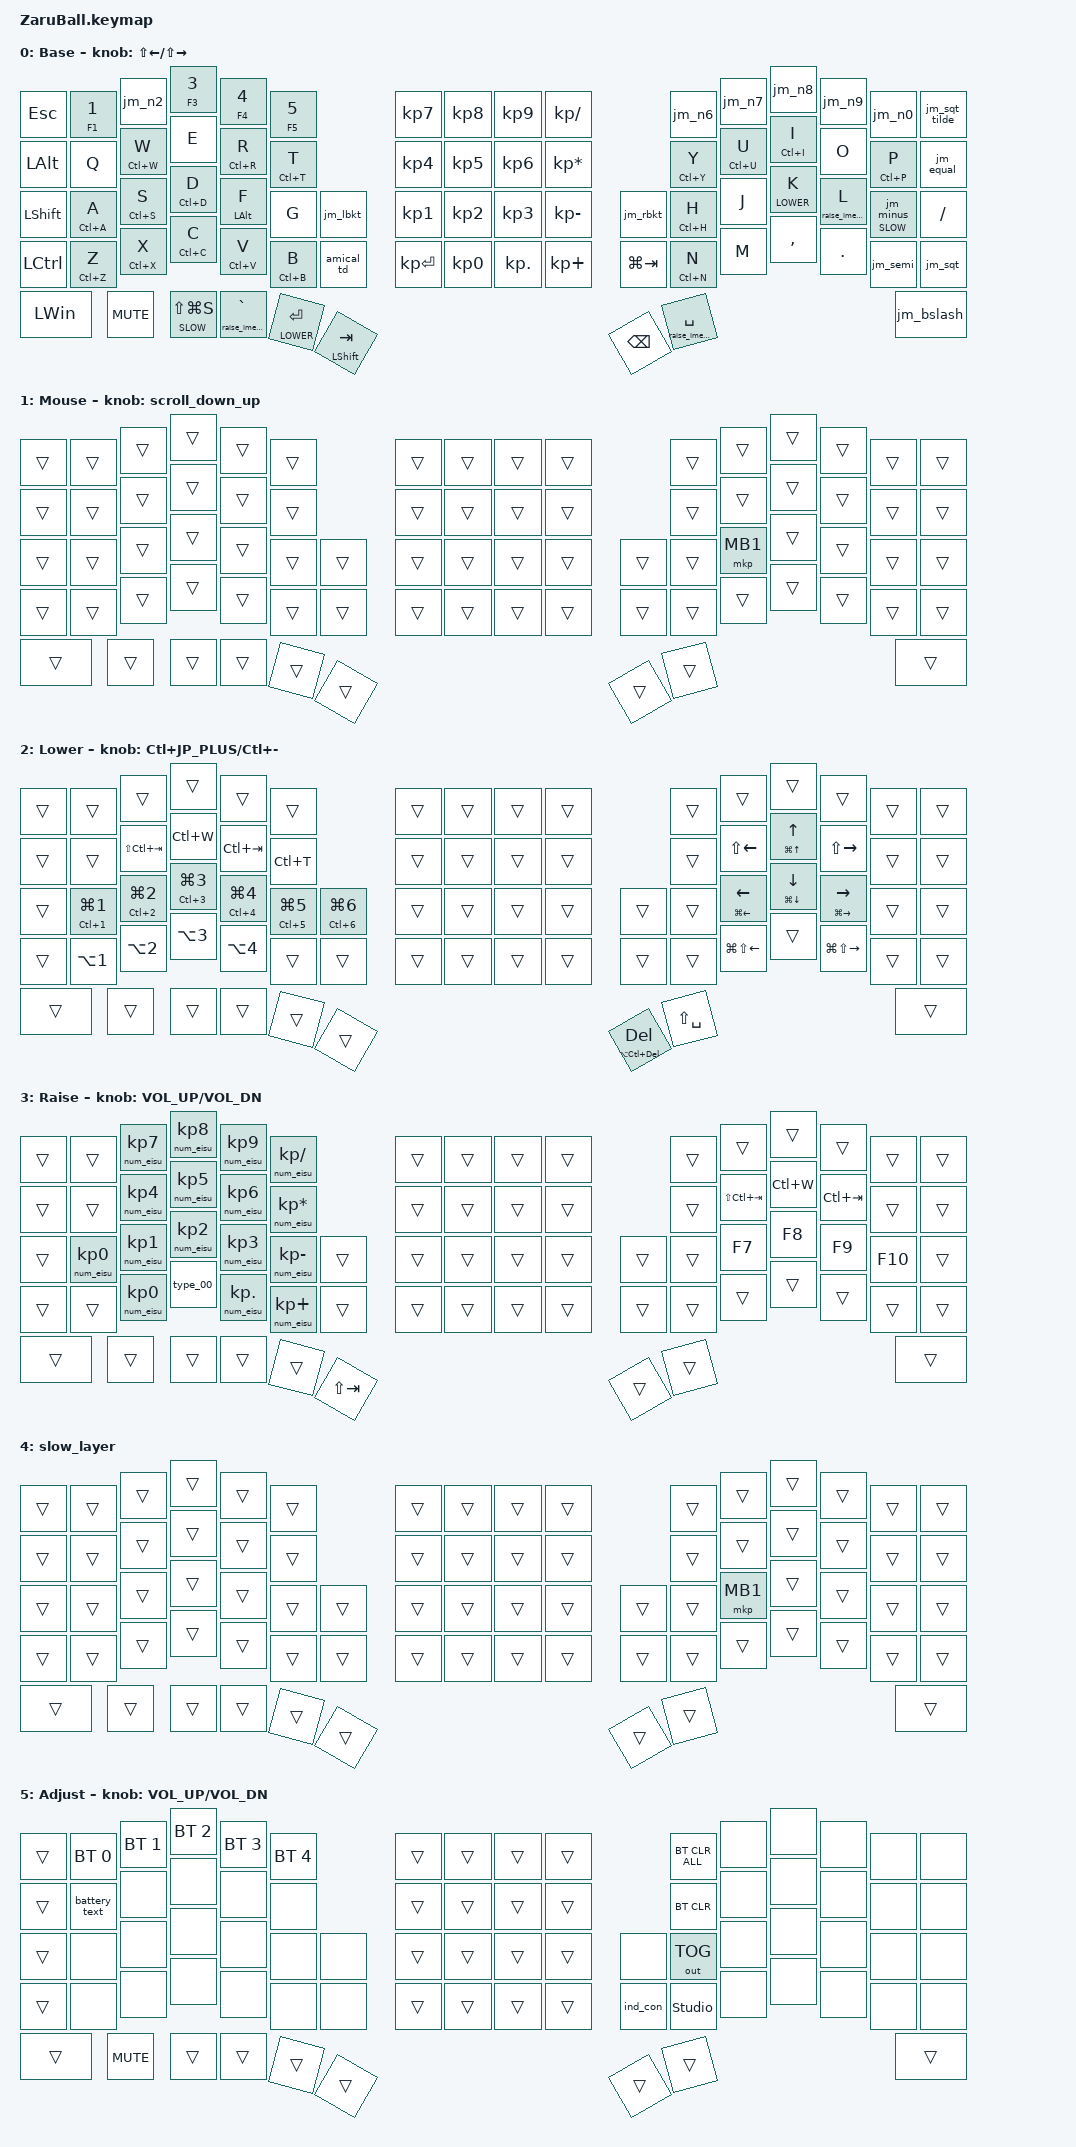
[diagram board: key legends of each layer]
//#include <dt-bindings/zmk/mouse.h>

#include <behaviors/rgbled_widget.dtsi>
#include <input/processors.dtsi>
#include <dt-bindings/zmk/input_transform.h>
#include <dt-bindings/zmk/modifiers.h>
#include <behaviors.dtsi>
#include <dt-bindings/zmk/bt.h>
#include <dt-bindings/zmk/keys.h>
#include <dt-bindings/zmk/outputs.h>
#include <dt-bindings/zmk/pointing.h>
#include <mouse-gesture.dtsi>

#define BASE     0
#define MOUSE    1
#define LOWER    2
#define RAISE    3
#define SLOW     4
#define ADJUST   5

// OS設定を日本語キーボードのまま使用するための変換定義

#define JP_DQUOTE       AT                // "
#define JP_AMPERSAND    CARET             // &
#define JP_QUOTE        AMPERSAND         // '
#define JP_EQUAL        UNDER             // =
#define JP_CARET        EQUAL             // ^
#define JP_YEN          INTERNATIONAL_3   // ¥
#define JP_PLUS         COLON             // +
#define JP_TILDE        PLUS              // ~
#define JP_PIPE         LS(INTERNATIONAL_3) // |
#define JP_AT           LEFT_BRACKET      // @
#define JP_COLON        SINGLE_QUOTE      // :
#define JP_ASTERISK     DOUBLE_QUOTES     // *
#define JP_BACKQUOTE    LEFT_BRACE        // `
#define JP_UNDERSCORE   LS(INTERNATIONAL_1) // _
#define JP_LBRACKET     RIGHT_BRACKET     // [
#define JP_RBRACKET     BACKSLASH         // ]
#define JP_LPAREN       ASTERISK          // (
#define JP_RPAREN       LEFT_PARENTHESIS  // )
#define JP_LBRACE       RIGHT_BRACE       // {
#define JP_RBRACE       PIPE              // }
#define JP_KANA         LANGUAGE_1        // かな
#define JP_EISU         LANGUAGE_2        // 英数
#define JP_HANZEN       GRAVE             // 半角/全角
#define JP_BSLASH       INTERNATIONAL_1   // \ (ろ)

// スクロール量の設定（デフォルト10を100に上書き）

#undef ZMK_POINTING_DEFAULT_SCRL_VAL

#define ZMK_POINTING_DEFAULT_SCRL_VAL 100

// マウスジェスチャーの設定

&zip_mouse_gesture {
    stroke-size = <100>;
    enable-eager-mode;

    // 左スワイプ → Win+1
    win1 {
        pattern = <GESTURE_LEFT>;
        bindings = <&kp LG(N1)>;
    };

    // 上スワイプ → Win+2
    win2 {
        pattern = <GESTURE_UP>;
        bindings = <&kp LG(N2)>;
    };

    // 下スワイプ → Win+3
    win3 {
        pattern = <GESTURE_DOWN>;
        bindings = <&kp LG(N3)>;
    };

    // 右スワイプ → Win+4
    win4 {
        pattern = <GESTURE_RIGHT>;
        bindings = <&kp LG(N4)>;
    };
};

/ {
    mouse_temp_layer: mouse_temp_layer {
        compatible = "zmk,input-processor-temp-layer";
        #input-processor-cells = <2>;
        require-prior-idle-ms = <300>;
        excluded-positions = <45>;
    };

    conditional_layers {
        compatible = "zmk,conditional-layers";

        tri_layer {
            if-layers = <LOWER RAISE>;
            then-layer = <ADJUST>;
        };
    };
};

&mt {
    flavor = "tap-preferred";
    quick-tap-ms = <175>; // 素早いダブルタップ・連続入力を可能にしてレスポンスを改善
};

/ {
    behaviors {
        // スクロール用のbehaviorの設定

        battery_text: battery_text {
            compatible = "zmk,behavior-battery-text";
            #binding-cells = <0>;
            display-name = "Battery Text";
        };

        scroll_down_up: behavior_sensor_rotate_mouse_wheel_down_up {
            compatible = "zmk,behavior-sensor-rotate";
            #sensor-binding-cells = <0>;
            bindings = <&msc SCRL_UP>, <&msc SCRL_DOWN>;

            tap-ms = <20>; // スクロールのタップ時間
        };


        td0: tap_dance_0 {
            compatible = "zmk,behavior-tap-dance";
            #binding-cells = <0>;
            tapping-term-ms = <200>;
            bindings = <&mt LALT LANG2>, <&raise_ime_hold>, <&mo MOUSE>;
        };

        td1: tap_dance_1 {
            compatible = "zmk,behavior-tap-dance";
            #binding-cells = <0>;
            tapping-term-ms = <200>;
            bindings = <&mt RCTL LANG1>, <&raise_ime_hold>, <&mo MOUSE>;
        };

        // Customed Hold-Tap for SandS

        SandS: SandS {
            compatible = "zmk,behavior-hold-tap";
            #binding-cells = <2>;
            flavor = "tap-unless-interrupted";
            tapping-term-ms = <500>;
            quick-tap-ms = <500>;
            bindings = <&kp>, <&kp>;

            display-name = "SandS";
        };

        // US→JP変換用 mod-morph behaviors
        // Shift押下時に正しいUS記号を出力するための変換

        jm_n2: jm_n2 {
            compatible = "zmk,behavior-mod-morph";
            #binding-cells = <0>;
            bindings = <&numht F2 N2>, <&kp JP_AT>;

            mods = <(MOD_LSFT|MOD_RSFT)>;
        };

        jm_n6: jm_n6 {
            compatible = "zmk,behavior-mod-morph";
            #binding-cells = <0>;
            bindings = <&numht F6 N6>, <&kp JP_CARET>;

            mods = <(MOD_LSFT|MOD_RSFT)>;
        };

        jm_n7: jm_n7 {
            compatible = "zmk,behavior-mod-morph";
            #binding-cells = <0>;
            bindings = <&numht F7 N7>, <&kp JP_AMPERSAND>;

            mods = <(MOD_LSFT|MOD_RSFT)>;
        };

        jm_n8: jm_n8 {
            compatible = "zmk,behavior-mod-morph";
            #binding-cells = <0>;
            bindings = <&numht F8 N8>, <&kp JP_ASTERISK>;

            mods = <(MOD_LSFT|MOD_RSFT)>;
        };

        jm_n9: jm_n9 {
            compatible = "zmk,behavior-mod-morph";
            #binding-cells = <0>;
            bindings = <&numht F9 N9>, <&kp JP_LPAREN>;

            mods = <(MOD_LSFT|MOD_RSFT)>;
        };

        jm_n0: jm_n0 {
            compatible = "zmk,behavior-mod-morph";
            #binding-cells = <0>;
            bindings = <&numht F10 N0>, <&kp JP_RPAREN>;

            mods = <(MOD_LSFT|MOD_RSFT)>;
        };

        jm_minus: jm_minus {
            compatible = "zmk,behavior-mod-morph";
            #binding-cells = <0>;
            bindings = <&kp MINUS>, <&kp INTERNATIONAL_1>;

            mods = <(MOD_LSFT|MOD_RSFT)>;
            keep-mods = <(MOD_LSFT|MOD_RSFT)>;
        };

        jm_equal: jm_equal {
            compatible = "zmk,behavior-mod-morph";
            #binding-cells = <0>;
            bindings = <&kp JP_EQUAL>, <&kp JP_PLUS>;

            mods = <(MOD_LSFT|MOD_RSFT)>;
        };

        jm_semi: jm_semi {
            compatible = "zmk,behavior-mod-morph";
            #binding-cells = <0>;
            bindings = <&kp SEMICOLON>, <&kp JP_COLON>;

            mods = <(MOD_LSFT|MOD_RSFT)>;
        };

        jm_sqt: jm_sqt {
            compatible = "zmk,behavior-mod-morph";
            #binding-cells = <0>;
            bindings = <&kp JP_QUOTE>, <&kp JP_DQUOTE>;

            mods = <(MOD_LSFT|MOD_RSFT)>;
        };

        jm_grave: jm_grave {
            compatible = "zmk,behavior-mod-morph";
            #binding-cells = <0>;
            bindings = <&kp JP_BACKQUOTE>, <&kp JP_TILDE>;

            mods = <(MOD_LSFT|MOD_RSFT)>;
        };

        // ' (Shift: ~) 用 mod-morph

        jm_sqt_tilde: jm_sqt_tilde {
            compatible = "zmk,behavior-mod-morph";
            #binding-cells = <0>;
            bindings = <&kp JP_QUOTE>, <&kp JP_TILDE>;

            mods = <(MOD_LSFT|MOD_RSFT)>;
        };

        // [ (Shift: {) 用 mod-morph

        jm_lbkt: jm_lbkt {
            compatible = "zmk,behavior-mod-morph";
            #binding-cells = <0>;
            bindings = <&kp JP_LBRACKET>, <&kp JP_LBRACE>;

            mods = <(MOD_LSFT|MOD_RSFT)>;
        };

        // ] (Shift: }) 用 mod-morph

        jm_rbkt: jm_rbkt {
            compatible = "zmk,behavior-mod-morph";
            #binding-cells = <0>;
            bindings = <&kp JP_RBRACKET>, <&kp JP_RBRACE>;

            mods = <(MOD_LSFT|MOD_RSFT)>;
        };

        // \ (Shift: |) 用 mod-morph

        jm_bslash: jm_bslash {
            compatible = "zmk,behavior-mod-morph";
            #binding-cells = <0>;
            bindings = <&kp INTERNATIONAL_1>, <&kp INTERNATIONAL_3>;

            mods = <(MOD_LSFT|MOD_RSFT)>;
            keep-mods = <(MOD_LSFT|MOD_RSFT)>;
        };

        // 数字キー長押しでFキーを出力するための hold-tap behavior

        raise_ime: raise_ime {
            compatible = "zmk,behavior-hold-tap";
            #binding-cells = <2>;
            flavor = "tap-preferred";
            tapping-term-ms = <200>;
            quick-tap-ms = <175>;
            bindings = <&raise_ime_hold>, <&kp>;
        };

        slow_minus: slow_minus {
            compatible = "zmk,behavior-hold-tap";
            #binding-cells = <2>;
            flavor = "balanced";
            tapping-term-ms = <200>;
            quick-tap-ms = <175>;
            bindings = <&mo>, <&jm_minus>;
        };

        amical_td: amical_td {
            compatible = "zmk,behavior-tap-dance";
            #binding-cells = <0>;
            tapping-term-ms = <200>;
            bindings = <&mt LC(F13) F13>, <&kp LS(F13)>;
        };

        pa_strings: pa_strings {
            compatible = "zmk,behavior-hold-tap";
            #binding-cells = <2>;
            flavor = "tap-preferred";
            tapping-term-ms = <200>;
            bindings = <&type_tara_base>, <&type_tara_dart2>;
        };

        numht: numht {
            compatible = "zmk,behavior-hold-tap";
            #binding-cells = <2>;
            flavor = "balanced";
            tapping-term-ms = <200>;
            quick-tap-ms = <200>;
            bindings = <&kp>, <&kp>;
        };

        lt_mkp: layer_tap_mouse_button {
            compatible = "zmk,behavior-hold-tap";
            #binding-cells = <2>;
            flavor = "balanced";
            tapping-term-ms = <200>;
            quick-tap-ms = <175>;
            bindings = <&mo>, <&mkp>;
        };
    };
};

&sl { release-after-ms = <250>; }; // time needed for double click (for mkp_exit_AML)
/ {
    macros {
        raise_ime_hold: raise_ime_hold {
            compatible = "zmk,behavior-macro";
            #binding-cells = <0>;
            wait-ms = <10>;
            tap-ms = <10>;
            bindings =
                <&macro_press>,
                <&mo RAISE>,
                <&macro_pause_for_release>,
                <&macro_release>,
                <&mo RAISE>,
                <&macro_tap>,
                <&kp JP_KANA>;
        };

        // When in AML, move to default layer when key (except mouse button) pressed

        to_layer_0: to_layer_0 {
            compatible = "zmk,behavior-macro-one-param";
            #binding-cells = <1>;
            bindings = <&tog MOUSE &macro_param_1to1 &kp MACRO_PLACEHOLDER>;
            label = "TO_layer_0";
        };

        // When LCLK pressed, exit AML (after 250ms cause by sticky layer

        mkp_exit_AML: mkp_exit_AML {
            compatible = "zmk,behavior-macro-one-param";
            #binding-cells = <1>;
            bindings =
                <&macro_press>,
                <&macro_param_1to1 &mkp MACRO_PLACEHOLDER>,
                <&macro_pause_for_release>,
                <&macro_release>,
                <&macro_param_1to1 &mkp MACRO_PLACEHOLDER>,
                <&macro_tap>,
                <&sl MOUSE>;

            label = "MKP_EXIT_AML";
        };

        // Shift+右クリック用マクロ

        shift_rclick: shift_rclick {
            compatible = "zmk,behavior-macro";
            #binding-cells = <0>;
            bindings =
                <&macro_press>,
                <&kp LSHFT>,
                <&macro_tap>,
                <&mkp MB2>,
                <&macro_release>,
                <&kp LSHFT>;
        };

        // 文字列入力マクロ: tara_dart2

        type_tara_dart2: type_tara_dart2 {
            compatible = "zmk,behavior-macro";
            #binding-cells = <0>;
            wait-ms = <10>;
            tap-ms = <10>;
            bindings =
                <&macro_tap>,
                <&kp T &kp A &kp R &kp A>,
                <&macro_press>,
                <&kp LSHFT>,
                <&macro_tap>,
                <&kp INTERNATIONAL_1>,
                <&macro_release>,
                <&kp LSHFT>,
                <&macro_tap>,
                <&kp D &kp A &kp R &kp T &kp N2>;
        };

        // 文字列入力マクロ: Tara_baseba11

        type_tara_base: type_tara_base {
            compatible = "zmk,behavior-macro";
            #binding-cells = <0>;
            wait-ms = <10>;
            tap-ms = <10>;
            bindings =
                <&macro_press>,
                <&kp LSHFT>,
                <&macro_tap>,
                <&kp T>,
                <&macro_release>,
                <&kp LSHFT>,
                <&macro_tap>,
                <&kp A &kp R &kp A>,
                <&macro_press>,
                <&kp LSHFT>,
                <&macro_tap>,
                <&kp INTERNATIONAL_1>,
                <&macro_release>,
                <&kp LSHFT>,
                <&macro_tap>,
                <&kp B &kp A &kp S &kp E &kp B &kp A &kp N1 &kp N1>;
        };

        // 括弧ペア入力マクロ: () + カーソルを間に

        type_parens: type_parens {
            compatible = "zmk,behavior-macro";
            #binding-cells = <0>;
            wait-ms = <10>;
            tap-ms = <10>;
            bindings =
                <&macro_tap>,
                <&kp JP_KANA &kp JP_LPAREN &kp JP_RPAREN &kp ENTER &kp LEFT>;
        };

        // 括弧ペア入力マクロ: [] + カーソルを間に

        type_brackets: type_brackets {
            compatible = "zmk,behavior-macro";
            #binding-cells = <0>;
            wait-ms = <10>;
            tap-ms = <10>;
            bindings =
                <&macro_tap>,
                <&kp JP_KANA &kp JP_LBRACKET &kp JP_RBRACKET &kp ENTER &kp LEFT>;
        };

        type_00: type_00 {
            compatible = "zmk,behavior-macro";
            #binding-cells = <0>;
            wait-ms = <10>;
            tap-ms = <10>;
            bindings = <&macro_tap &kp JP_EISU &kp KP_NUMBER_0 &kp KP_NUMBER_0>;
        };

        num_eisu: num_eisu {
            compatible = "zmk,behavior-macro-one-param";
            #binding-cells = <1>;
            wait-ms = <10>;
            tap-ms = <10>;
            bindings = <&macro_tap &kp JP_EISU>, <&macro_param_1to1>, <&macro_tap &kp MACRO_PLACEHOLDER>;
        };

        // 左クリック×2（ダブル左クリック）

        double_lclick: double_lclick {
            compatible = "zmk,behavior-macro";
            #binding-cells = <0>;
            wait-ms = <30>;
            tap-ms = <30>;
            bindings = <&macro_tap>, <&mkp MB1 &mkp MB1>;
        };

        // Ctrl+左クリック

        ctrl_lclick: ctrl_lclick {
            compatible = "zmk,behavior-macro";
            #binding-cells = <0>;
            bindings =
                <&macro_press>,
                <&kp LCTRL>,
                <&macro_tap>,
                <&mkp MB1>,
                <&macro_release>,
                <&kp LCTRL>;
        };

        macro_f2_kana: macro_f2_kana {
            compatible = "zmk,behavior-macro";
            #binding-cells = <0>;
            wait-ms = <10>;
            tap-ms = <10>;
            bindings = <&macro_tap>, <&kp F2 &kp JP_KANA>;
        };

        type_ab3233921: type_ab3233921 {
            compatible = "zmk,behavior-macro";
            #binding-cells = <0>;
            wait-ms = <10>;
            tap-ms = <10>;
            bindings =
                <&macro_tap>,
                <&kp JP_EISU &kp A &kp B &kp N3 &kp N2 &kp N3 &kp N3 &kp N9 &kp N2 &kp N1>;
        };
    };
};

// Shift+右クリック用 tap-dance

/ {
    behaviors {
        td_rclick: td_rclick {
            compatible = "zmk,behavior-tap-dance";
            #binding-cells = <0>;
            tapping-term-ms = <200>;
            bindings = <&mkp MB2>, <&shift_rclick>;
        };
    };
};

/ {
    combos {
        compatible = "zmk,combos";

        center_click {
            bindings = <&mkp MB3>;
            key-positions = <28 29>;
        };

        right_click {
            bindings = <&mkp MB2>;
            key-positions = <46 47>;
        };

        mb4 {
            bindings = <&mkp MB4>;
            key-positions = <63 64>;
        };

        mb5 {
            bindings = <&mkp MB5>;
            key-positions = <64 65>;
        };

        task_viewer {
            bindings = <&kp LG(TAB)>;
            key-positions = <36 72>;
        };

        combo_lparen {
            timeout-ms = <50>;
            key-positions = <19 20>; // D + F
            bindings = <&kp JP_LPAREN>;
        };

        combo_rparen {
            timeout-ms = <50>;
            key-positions = <27 28>; // U + I
            bindings = <&kp JP_RPAREN>;
        };

        close {
            bindings = <&kp LA(F4)>;
            key-positions = <35 36 72>;
        };

        plane_paste {
            bindings = <&mt LG(V) LC(LS(V))>;
            key-positions = <54 72>;
        };

        win+d {
            bindings = <&kp LG(D)>;
            key-positions = <35 72>;
        };

        f2 {
            bindings = <&macro_f2_kana>;
            key-positions = <35 36>;
        };

        combo_eisu_dk {
            timeout-ms = <50>;
            key-positions = <35 46>; // D + K
            bindings = <&type_brackets>;
        };

        new_folder {
            bindings = <&kp LS(LC(N))>;
            key-positions = <34 35>; // S + D
        };

        combo_tara_dart2 {
            timeout-ms = <50>;
            key-positions = <30 33>; // P + A
            bindings = <&pa_strings 0 0>;
        };

        combo_parens {
            timeout-ms = <50>;
            key-positions = <19 20 28 27>; // E + R + U + I
            bindings = <&type_parens>;
        };

        double_left_click {
            timeout-ms = <50>;
            key-positions = <45 46>; // J + K
            bindings = <&double_lclick>;
        };

        shift_right_click {
            timeout-ms = <50>;
            key-positions = <45 46 47>; // J + K + L
            bindings = <&shift_rclick>;
        };

        combo_brackets_jp {
            timeout-ms = <50>;
            key-positions = <38 43>; // 「 + 」
            bindings = <&type_brackets>;
        };

        combo_kana {
            timeout-ms = <50>;
            key-positions = <36 45>; // F + J
            bindings = <&type_parens>;
        };

        combo_eisu {
            timeout-ms = <50>;
            key-positions = <35 45 36>; // D + J
            bindings = <&kp JP_EISU>;
        };

        close_2 {
            bindings = <&kp RA(F4)>;
            key-positions = <45 46 75>;
        };

        win+d_2 {
            bindings = <&kp RG(D)>;
            key-positions = <46 75>;
        };

        task_view_2 {
            bindings = <&kp RG(TAB)>;
            key-positions = <45 75>;
        };

        alt+tab {
            bindings = <&kp LA(TAB)>;
            key-positions = <36 73>;
        };

        combo_exclamation_aenter {
            timeout-ms = <50>;
            key-positions = <33 72>; // A + Enter
            bindings = <&kp LS(N1)>;
        };

        combo_at_senter {
            timeout-ms = <50>;
            key-positions = <34 72>; // S + Enter
            bindings = <&kp JP_AT>;
        };

        combo_gesture {
            timeout-ms = <50>;
            key-positions = <45 47>; // J + L
            bindings = <&mouse_gesture>;
        };

        combo_ab3233921 {
            timeout-ms = <50>;
            key-positions = <33 55>; // A + B
            bindings = <&type_ab3233921>;
        };
    };

    keymap {
        compatible = "zmk,keymap";

        base_layer {
            display-name = "Base";
            sensor-bindings = <&inc_dec_kp LS(LEFT) LS(RIGHT)>;
            bindings = <
&kp ESCAPE      &numht F1 N1  &jm_n2       &numht F3 N3   &numht F4 N4     &numht F5 N5                     &kp KP_N7     &kp KP_N8  &kp KP_N9   &kp KP_DIVIDE                                 &jm_n6           &jm_n7       &jm_n8       &jm_n9       &jm_n0       &jm_sqt_tilde
&kp LEFT_ALT    &kp Q         &mt LC(W) W  &kp E          &mt LC(R) R      &mt LC(T) T                      &kp KP_N4     &kp KP_N5  &kp KP_N6   &kp KP_MULTIPLY                               &mt LC(Y) Y      &mt LC(U) U  &mt LC(I) I  &kp O        &mt LC(P) P  &jm_equal
&kp LEFT_SHIFT  &mt LC(A) A   &mt LC(S) S  &mt LC(D) D    &mt LEFT_ALT F   &kp G            &jm_lbkt        &kp KP_N1     &kp KP_N2  &kp KP_N3   &kp KP_MINUS       &jm_rbkt                   &mt LC(H) H      &kp J        &lt LOWER K  &raise_ime 0 L  &slow_minus SLOW 0  &kp SLASH
&kp LCTRL       &mt LC(Z) Z   &mt LC(X) X  &mt LC(C) C    &mt LC(V) V      &mt LC(B) B      &amical_td      &kp KP_ENTER  &kp KP_N0  &kp KP_DOT  &kp KP_PLUS        &kp LG(TAB)                &mt LC(N) N      &kp M        &kp COMMA    &kp DOT      &jm_semi     &jm_sqt
&kp LEFT_WIN    &kp C_MUTE            &lt SLOW LS(LG(S))  &raise_ime 0 GRAVE  &lt LOWER ENTER  &mt LEFT_SHIFT TAB                                                       &kp BACKSPACE              &raise_ime 0 SPACE                                                      &jm_bslash
            >;
        };

        mouse_layer {
            display-name = "Mouse";
            sensor-bindings = <&scroll_down_up>;
            bindings = <
&trans  &trans  &trans  &trans  &trans  &trans            &trans  &trans  &trans  &trans            &trans  &trans    &trans  &trans  &trans  &trans
&trans  &trans  &trans  &trans  &trans  &trans            &trans  &trans  &trans  &trans            &trans  &trans    &trans  &trans  &trans  &trans
&trans  &trans  &trans  &trans  &trans  &trans  &trans    &trans  &trans  &trans  &trans    &trans  &trans  &mkp MB1  &trans  &trans  &trans  &trans
&trans  &trans  &trans  &trans  &trans  &trans  &trans    &trans  &trans  &trans  &trans    &trans  &trans  &trans    &trans  &trans  &trans  &trans
&trans  &trans          &trans  &trans  &trans  &trans                                      &trans  &trans                                    &trans
            >;
        };

        lower_layer {
            display-name = "Lower";
            sensor-bindings = <&inc_dec_kp LC(JP_PLUS) LC(MINUS)>;
            bindings = <
&trans  &trans                         &trans                         &trans                         &trans                         &trans                                                          &trans  &trans  &trans  &trans                &trans         &trans             &trans             &trans               &trans  &trans
&trans  &trans                         &kp LS(LC(TAB))                &kp LC(W)                      &kp LC(TAB)                    &kp LC(T)                                                       &trans  &trans  &trans  &trans                &trans         &kp LS(LEFT)       &mt LG(UP) UP      &kp LS(RIGHT)        &trans  &trans
&trans  &mt LC(NUMBER_1) LG(NUMBER_1)  &mt LC(NUMBER_2) LG(NUMBER_2)  &mt LC(NUMBER_3) LG(NUMBER_3)  &mt LC(NUMBER_4) LG(NUMBER_4)  &mt LC(NUMBER_5) LG(NUMBER_5)  &mt LC(NUMBER_6) LG(NUMBER_6)    &trans  &trans  &trans  &trans    &trans      &trans         &mt LG(LEFT) LEFT  &mt LG(DOWN) DOWN  &mt LG(RIGHT) RIGHT  &trans  &trans
&trans  &kp LA(NUMBER_1)               &kp LA(NUMBER_2)               &kp LA(NUMBER_3)               &kp LA(NUMBER_4)               &trans                         &trans                           &trans  &trans  &trans  &trans    &trans      &trans         &kp LG(LS(LEFT))   &trans             &kp LG(LS(RIGHT))    &trans  &trans
&trans  &trans                                                        &trans                         &trans                         &trans                         &trans                                                             &mt LA(LC(DELETE)) DELETE  &kp LS(SPACE)                                                                     &trans
            >;
        };

        raise_layer {
            display-name = "Raise";
            sensor-bindings = <&inc_dec_kp C_VOL_UP C_VOL_DN>;
            bindings = <
&trans  &trans           &num_eisu KP_NUMBER_7  &num_eisu KP_NUMBER_8  &num_eisu KP_NUMBER_9  &num_eisu KP_SLASH               &trans  &trans  &trans  &trans            &trans  &trans           &trans     &trans       &trans   &trans
&trans  &trans           &num_eisu KP_NUMBER_4  &num_eisu KP_NUMBER_5  &num_eisu KP_NUMBER_6  &num_eisu KP_MULTIPLY            &trans  &trans  &trans  &trans            &trans  &kp LS(LC(TAB))  &kp LC(W)  &kp LC(TAB)  &trans   &trans
&trans  &num_eisu KP_NUMBER_0  &num_eisu KP_NUMBER_1  &num_eisu KP_NUMBER_2  &num_eisu KP_NUMBER_3  &num_eisu KP_MINUS     &trans    &trans  &trans  &trans  &trans    &trans  &trans  &kp F7           &kp F8     &kp F9       &kp F10  &trans
&trans  &trans           &num_eisu KP_NUMBER_0  &type_00         &num_eisu KP_DOT       &num_eisu KP_PLUS      &trans    &trans  &trans  &trans  &trans    &trans  &trans  &trans           &trans     &trans       &trans   &trans
&trans  &trans                            &trans           &trans           &trans           &kp LS(TAB)                                &trans  &trans                                                    &trans
            >;
        };

        slow_layer {
            bindings = <
&trans  &trans  &trans  &trans  &trans  &trans            &trans  &trans  &trans  &trans            &trans  &trans    &trans  &trans  &trans  &trans
&trans  &trans  &trans  &trans  &trans  &trans            &trans  &trans  &trans  &trans            &trans  &trans    &trans  &trans  &trans  &trans
&trans  &trans  &trans  &trans  &trans  &trans  &trans    &trans  &trans  &trans  &trans    &trans  &trans  &mkp MB1  &trans  &trans  &trans  &trans
&trans  &trans  &trans  &trans  &trans  &trans  &trans    &trans  &trans  &trans  &trans    &trans  &trans  &trans    &trans  &trans  &trans  &trans
&trans  &trans          &trans  &trans  &trans  &trans                                      &trans  &trans                                    &trans
            >;
        };

        adjust_layer {
            display-name = "Adjust";
            sensor-bindings = <&inc_dec_kp C_VOL_UP C_VOL_DN>;
            bindings = <
&trans  &bt BT_SEL 0  &bt BT_SEL 1  &bt BT_SEL 2  &bt BT_SEL 3  &bt BT_SEL 4            &trans  &trans  &trans  &trans              &bt BT_CLR_ALL  &none  &none  &none  &none  &none
&trans  &battery_text  &none         &none         &none         &none                   &trans  &trans  &trans  &trans              &bt BT_CLR      &none  &none  &none  &none  &none
&trans  &none          &none         &none         &none         &none         &none     &trans  &trans  &trans  &trans    &none          &out OUT_TOG    &none  &none  &none  &none  &none
&trans  &none         &none         &none         &none         &none         &none     &trans  &trans  &trans  &trans    &ind_con  &studio_unlock  &none  &none  &none  &none  &none
&trans  &kp C_MUTE                  &trans        &trans        &trans        &trans                                      &trans    &trans                                      &trans
            >;
        };

        extra1 { status = "reserved"; };

        extra2 { status = "reserved"; };
    };
};
